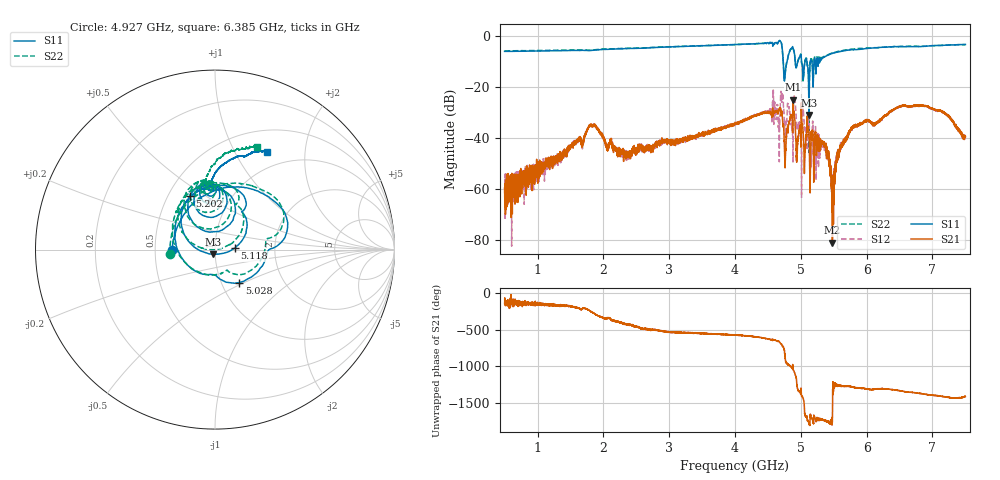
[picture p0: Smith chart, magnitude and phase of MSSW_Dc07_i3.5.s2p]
!Keysight Technologies,M9374A,MY55442783,A.12.55.05
!Date: Thursday, May 20, 2021 15:51:12
!Correction: S11(Full 2 Port(1,2))
!S21(Full 2 Port(1,2))
!S12(Full 2 Port(1,2))
!S22(Full 2 Port(1,2))
!S2P File: Measurements: S11, S21, S12, S22:
# Hz S  RI  R 50
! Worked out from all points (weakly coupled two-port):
!   7001 points, 500 MHz to 7.5 GHz, reference 50 ohm
!   highest |S21| = -24.88 dB at 4.881 GHz (marker M1); lowest = -81.0 dB at 5.48 GHz (marker M2)
!   lowest |S11| = -30.9 dB at 5.124 GHz (marker M3), VSWR 1.06, Z = 48.9 - j2.57 ohm
!   |S11| at or under -10 dB: 4.733 GHz to 4.79 GHz (57.68 MHz wide, 1.21 % of centre); 5.01 GHz to 5.063 GHz (52.91 MHz wide, 1.05 % of centre); 5.092 GHz to 5.143 GHz (51.37 MHz wide, 1 % of centre) (the widest 3 of 8)
!   |S22| runs from -45.7 to -1.7 dB; largest |S21 - S12| = 0.096
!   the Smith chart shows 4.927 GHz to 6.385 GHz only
!   S11 on the Smith chart (normalised r, x): 4.927 GHz: 0.61, -0.00; 5.028 GHz: 1.22, -0.47; 5.118 GHz: 1.25, +0.02; 5.202 GHz: 0.64, +0.43; 6.385 GHz: 0.77, +1.36
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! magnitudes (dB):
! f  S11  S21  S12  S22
! 500 MHz  -6.0  -59.6  -59.6  -5.8
! 1.667 GHz  -5.6  -41.4  -42.1  -5.4
! 1.839 GHz  -5.5  -35.0  -34.9  -5.4
! 2.367 GHz  -4.9  -47.2  -46.8  -4.8
! 2.834 GHz  -4.4  -42.6  -42.1  -4.3
! 4 GHz  -3.3  -34.5  -34.5  -3.3
! 4.665 GHz  -2.0  -29.0  -31.6  -1.9
! 4.775 GHz  -12.1  -42.6  -37.1  -11.8
! 4.881 GHz  -4.5  -24.9  -44.2  -4.5
! 4.927 GHz  -12.5  -42.5  -30.7  -12.0
! 5.028 GHz  -12.8  -35.5  -26.8  -13.5
! 5.118 GHz  -19.2  -36.7  -30.6  -16.9
! 5.124 GHz  -30.9  -38.3  -30.7  -30.5
! 5.167 GHz  -9.9  -38.2  -41.1  -9.1
! 5.202 GHz  -9.6  -47.1  -41.8  -9.1
! 5.368 GHz  -8.0  -43.3  -43.7  -7.8
! 5.48 GHz  -6.7  -81.0  -56.7  -6.6
! 5.762 GHz  -5.3  -36.5  -36.6  -5.1
! 6.334 GHz  -4.2  -29.9  -30.3  -4.2
! 6.385 GHz  -4.2  -29.2  -29.3  -4.2
! 7.126 GHz  -3.6  -29.4  -29.4  -3.7
! 7.5 GHz  -3.3  -39.4  -39.3  -3.3
